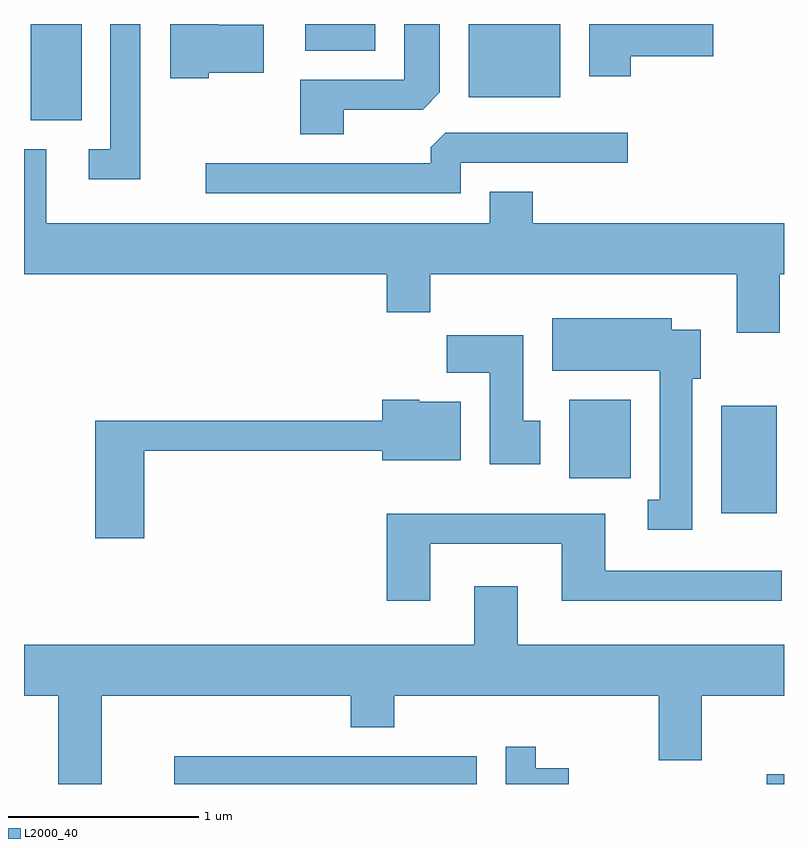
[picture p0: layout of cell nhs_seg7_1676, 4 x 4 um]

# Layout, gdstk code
import gdstk
lib = gdstk.Library(unit=1e-6, precision=1e-09)
def R(c, l, rs):  # rectangles x0, y0, x1, y1
    for r in rs: c.add(gdstk.rectangle(r[:2], r[2:], *l))
def P(c, l, *ps):  # polygons
    for p in ps: c.add(gdstk.Polygon(p, *l))
L2000_40 = (2000, 40)

nhs_seg7_1676 = lib.new_cell('nhs_seg7_1676')
R(nhs_seg7_1676, L2000_40, [(236.401,1758.252,237.994,1758.399), (239.521,1758.252,239.611,1758.303), (239.281,1759.676,239.574,1760.244), (238.481,1759.861,238.804,1760.274), (235.646,1761.746,235.914,1762.252), (237.951,1761.866,238.434,1762.252), (237.091,1762.111,237.459,1762.252)])
P(nhs_seg7_1676, L2000_40, [(237.294,1761.801),(237.709,1761.801),(237.799,1761.892),(237.799,1762.252),(237.611,1762.252),(237.611,1761.959),(237.066,1761.959),(237.066,1761.671),(237.294,1761.671)],
  [(236.224,1762.252),(236.066,1762.252),(236.066,1761.594),(235.953,1761.594),(235.953,1761.436),(236.224,1761.436)],
  [(238.804,1762.081),(239.239,1762.081),(239.239,1762.252),(238.586,1762.252),(238.586,1761.976),(238.804,1761.976)],
  [(236.584,1761.996),(236.874,1761.996),(236.874,1762.249),(236.634,1762.249),(236.634,1762.252),(236.381,1762.252),(236.381,1761.966),(236.584,1761.966)],
  [(237.909,1761.521),(238.788,1761.521),(238.788,1761.679),(237.827,1761.679),(237.751,1761.604),(237.751,1761.519),(236.568,1761.519),(236.568,1761.361),(237.909,1761.361)],
  [(239.589,1760.936),(239.611,1760.936),(239.611,1761.204),(238.289,1761.204),(238.289,1761.369),(238.061,1761.369),(238.061,1761.204),(235.729,1761.204),(235.729,1761.594),(235.611,1761.594),(235.611,1760.936),(237.521,1760.936),(237.521,1760.736),(237.749,1760.736),(237.749,1760.936),(239.361,1760.936),(239.361,1760.626),(239.589,1760.626)],
  [(239.129,1760.386),(239.174,1760.386),(239.174,1760.644),(239.019,1760.644),(239.019,1760.704),(238.391,1760.704),(238.391,1760.426),(238.956,1760.426),(238.956,1759.749),(238.893,1759.749),(238.893,1759.591),(239.129,1759.591)],
  [(238.329,1760.164),(238.239,1760.164),(238.239,1760.614),(237.836,1760.614),(237.836,1760.416),(238.061,1760.416),(238.061,1759.936),(238.329,1759.936)],
  [(236.244,1760.006),(237.496,1760.006),(237.496,1759.956),(237.909,1759.956),(237.909,1760.264),(237.69,1760.264),(237.69,1760.274),(237.496,1760.274),(237.496,1760.164),(235.986,1760.164),(235.986,1759.546),(236.244,1759.546)],
  [(237.749,1759.516),(238.441,1759.516),(238.441,1759.216),(239.598,1759.216),(239.598,1759.374),(238.669,1759.374),(238.669,1759.674),(237.521,1759.674),(237.521,1759.216),(237.749,1759.216)],
  [(236.019,1758.716),(237.331,1758.716),(237.331,1758.551),(237.559,1758.551),(237.559,1758.716),(238.951,1758.716),(238.951,1758.376),(239.179,1758.376),(239.179,1758.716),(239.611,1758.716),(239.611,1758.984),(238.209,1758.984),(238.209,1759.294),(237.981,1759.294),(237.981,1758.984),(235.611,1758.984),(235.611,1758.716),(235.791,1758.716),(235.791,1758.252),(236.019,1758.252)],
  [(238.479,1758.334),(238.304,1758.334),(238.304,1758.448),(238.146,1758.448),(238.146,1758.252),(238.479,1758.252)])

lib.write_gds('nhs_seg7_1676.gds')
